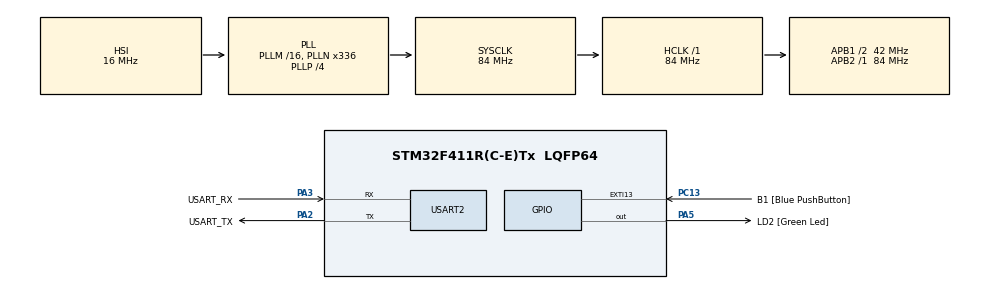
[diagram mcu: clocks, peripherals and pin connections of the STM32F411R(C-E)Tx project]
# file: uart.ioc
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Dma.Request0=USART2_RX
Dma.Request1=USART2_TX
Dma.USART2_RX.0.Direction=DMA_PERIPH_TO_MEMORY
Dma.USART2_RX.0.FIFOMode=DMA_FIFOMODE_DISABLE
Dma.USART2_RX.0.Instance=DMA1_Stream5
Dma.USART2_RX.0.MemDataAlignment=DMA_MDATAALIGN_BYTE
Dma.USART2_RX.0.MemInc=DMA_MINC_ENABLE
Dma.USART2_RX.0.Mode=DMA_CIRCULAR
Dma.USART2_RX.0.PeriphDataAlignment=DMA_PDATAALIGN_BYTE
Dma.USART2_RX.0.PeriphInc=DMA_PINC_DISABLE
Dma.USART2_RX.0.Priority=DMA_PRIORITY_LOW
Dma.USART2_TX.1.Direction=DMA_MEMORY_TO_PERIPH
Dma.USART2_TX.1.FIFOMode=DMA_FIFOMODE_DISABLE
Dma.USART2_TX.1.Instance=DMA1_Stream6
Dma.USART2_TX.1.MemDataAlignment=DMA_MDATAALIGN_BYTE
Dma.USART2_TX.1.MemInc=DMA_MINC_ENABLE
Dma.USART2_TX.1.Mode=DMA_NORMAL
Dma.USART2_TX.1.PeriphDataAlignment=DMA_PDATAALIGN_BYTE
Dma.USART2_TX.1.PeriphInc=DMA_PINC_DISABLE
Dma.USART2_TX.1.Priority=DMA_PRIORITY_LOW
Mcu.Family=STM32F4
Mcu.Name=STM32F411R(C-E)Tx
Mcu.Package=LQFP64
NVIC.DMA1_Stream5_IRQn=true\:0\:0\:false\:false\:true\:false\:true\:true
NVIC.DMA1_Stream6_IRQn=true\:0\:0\:false\:false\:true\:false\:true\:true
NVIC.PriorityGroup=NVIC_PRIORITYGROUP_0
NVIC.USART2_IRQn=true\:0\:0\:false\:false\:true\:true\:true\:true
PA13.GPIO_Label=TMS
PA13.Mode=Serial_Wire
PA13.Signal=SYS_JTMS-SWDIO
PA14.GPIO_Label=TCK
PA14.Mode=Serial_Wire
PA14.Signal=SYS_JTCK-SWCLK
PA2.GPIO_Label=USART_TX
PA2.Mode=Asynchronous
PA2.Signal=USART2_TX
PA3.GPIO_Label=USART_RX
PA3.Mode=Asynchronous
PA3.Signal=USART2_RX
PA5.GPIO_Label=LD2 [Green Led]
PA5.Signal=GPIO_Output
PB3.GPIO_Label=SWO
PB3.Signal=SYS_JTDO-SWO
PC13-ANTI_TAMP.GPIO_Label=B1 [Blue PushButton]
PC13-ANTI_TAMP.GPIO_ModeDefaultEXTI=GPIO_MODE_IT_FALLING
PC13-ANTI_TAMP.Signal=GPXTI13
PC14-OSC32_IN.Mode=LSE-External-Oscillator
PC14-OSC32_IN.Signal=RCC_OSC32_IN
PC15-OSC32_OUT.Mode=LSE-External-Oscillator
PC15-OSC32_OUT.Signal=RCC_OSC32_OUT
PH0\ -\ OSC_IN.Mode=HSE-External-Clock-Source
PH0\ -\ OSC_IN.Signal=RCC_OSC_IN
PH1\ -\ OSC_OUT.Mode=HSE-External-Clock-Source
PH1\ -\ OSC_OUT.Signal=RCC_OSC_OUT
ProjectManager.HeapSize=0x200
ProjectManager.StackSize=0x400
ProjectManager.TargetToolchain=STM32CubeIDE
RCC.48MHZClocksFreq_Value=84000000
RCC.AHBFreq_Value=84000000
RCC.APB1CLKDivider=RCC_HCLK_DIV2
RCC.APB1Freq_Value=42000000
RCC.APB1TimFreq_Value=84000000
RCC.APB2Freq_Value=84000000
RCC.APB2TimFreq_Value=84000000
RCC.CortexFreq_Value=84000000
RCC.FLatency-AdvancedSettings=FLASH_LATENCY_2
RCC.HCLKFreq_Value=84000000
RCC.HSE_VALUE=8000000
RCC.HSI_VALUE=16000000
RCC.PLLN=336
RCC.PLLP=RCC_PLLP_DIV4
RCC.SYSCLKFreq_VALUE=84000000
RCC.SYSCLKSource=RCC_SYSCLKSOURCE_PLLCLK
RCC.VCOOutputFreq_Value=336000000
USART2.VirtualMode=VM_ASYNC
board=NUCLEO-F411RE

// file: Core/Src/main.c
/* USER CODE BEGIN Header */
/**
  ******************************************************************************
  * @file           : main.c
  * @brief          : Main program body
  ******************************************************************************
  * @attention
  *
  * Copyright (c) 2023 STMicroelectronics.
  * All rights reserved.
  *
  * This software is licensed under terms that can be found in the LICENSE file
  * in the root directory of this software component.
  * If no LICENSE file comes with this software, it is provided AS-IS.
  *
  ******************************************************************************
  */
/* USER CODE END Header */
#include "main.h"

UART_HandleTypeDef huart2;
DMA_HandleTypeDef hdma_usart2_rx;
DMA_HandleTypeDef hdma_usart2_tx;

/* USER CODE BEGIN PV */
uint8_t RxBuffer[20];
uint8_t TxBuffer[40];
/* USER CODE END PV */

void SystemClock_Config(void);
static void MX_GPIO_Init(void);
static void MX_DMA_Init(void);
static void MX_USART2_UART_Init(void);
/* USER CODE BEGIN PFP */
void UARTPollingMethod();
void DummyTask();
void UARTDMAConfig();
/* USER CODE END PFP */

int main(void)
{

  /* MCU Configuration--------------------------------------------------------*/

  /* Reset of all peripherals, Initializes the Flash interface and the Systick. */
  HAL_Init();

  /* Configure the system clock */
  SystemClock_Config();

  /* Initialize all configured peripherals */
  MX_GPIO_Init();
  MX_DMA_Init();
  MX_USART2_UART_Init();
  /* USER CODE BEGIN 2 */
uint8_t text[] = "HELLO FIBO";
HAL_UART_Transmit(&huart2, text, 11, 10);

UARTDMAConfig();
  /* USER CODE END 2 */

  /* Infinite loop */
  while (1)
  {
	switch (state) {
		case LED_ON:
			BlinkLED();
			break;
		case LED_OFF:
			HAL_GPIO_WritePin(GPIOA, GPIO_PIN_5, 0);
		case Button_check:
			BlinkLED();
		default:
			break;
	  							}
  }
}

void SystemClock_Config(void)
{
  RCC_OscInitTypeDef RCC_OscInitStruct = {0};
  RCC_ClkInitTypeDef RCC_ClkInitStruct = {0};

  /** Configure the main internal regulator output voltage
  */
  __HAL_RCC_PWR_CLK_ENABLE();
  __HAL_PWR_VOLTAGESCALING_CONFIG(PWR_REGULATOR_VOLTAGE_SCALE1);

  /** Initializes the RCC Oscillators according to the specified parameters
  * in the RCC_OscInitTypeDef structure.
  */
  RCC_OscInitStruct.OscillatorType = RCC_OSCILLATORTYPE_HSI;
  RCC_OscInitStruct.HSIState = RCC_HSI_ON;
  RCC_OscInitStruct.HSICalibrationValue = RCC_HSICALIBRATION_DEFAULT;
  RCC_OscInitStruct.PLL.PLLState = RCC_PLL_ON;
  RCC_OscInitStruct.PLL.PLLSource = RCC_PLLSOURCE_HSI;
  RCC_OscInitStruct.PLL.PLLM = 16;
  RCC_OscInitStruct.PLL.PLLN = 336;
  RCC_OscInitStruct.PLL.PLLP = RCC_PLLP_DIV4;
  RCC_OscInitStruct.PLL.PLLQ = 4;
  if (HAL_RCC_OscConfig(&RCC_OscInitStruct) != HAL_OK)
  {
    Error_Handler();
  }

  /** Initializes the CPU, AHB and APB buses clocks
  */
  RCC_ClkInitStruct.ClockType = RCC_CLOCKTYPE_HCLK|RCC_CLOCKTYPE_SYSCLK
                              |RCC_CLOCKTYPE_PCLK1|RCC_CLOCKTYPE_PCLK2;
  RCC_ClkInitStruct.SYSCLKSource = RCC_SYSCLKSOURCE_PLLCLK;
  RCC_ClkInitStruct.AHBCLKDivider = RCC_SYSCLK_DIV1;
  RCC_ClkInitStruct.APB1CLKDivider = RCC_HCLK_DIV2;
  RCC_ClkInitStruct.APB2CLKDivider = RCC_HCLK_DIV1;

  if (HAL_RCC_ClockConfig(&RCC_ClkInitStruct, FLASH_LATENCY_2) != HAL_OK)
  {
    Error_Handler();
  }
}

static void MX_USART2_UART_Init(void)
{

  huart2.Instance = USART2;
  huart2.Init.BaudRate = 115200;
  huart2.Init.WordLength = UART_WORDLENGTH_8B;
  huart2.Init.StopBits = UART_STOPBITS_1;
  huart2.Init.Parity = UART_PARITY_NONE;
  huart2.Init.Mode = UART_MODE_TX_RX;
  huart2.Init.HwFlowCtl = UART_HWCONTROL_NONE;
  huart2.Init.OverSampling = UART_OVERSAMPLING_16;
  if (HAL_UART_Init(&huart2) != HAL_OK)
  {
    Error_Handler();
  }

}

static void MX_DMA_Init(void)
{

  /* DMA controller clock enable */
  __HAL_RCC_DMA1_CLK_ENABLE();

  /* DMA interrupt init */
  /* DMA1_Stream5_IRQn interrupt configuration */
  HAL_NVIC_SetPriority(DMA1_Stream5_IRQn, 0, 0);
  HAL_NVIC_EnableIRQ(DMA1_Stream5_IRQn);
  /* DMA1_Stream6_IRQn interrupt configuration */
  HAL_NVIC_SetPriority(DMA1_Stream6_IRQn, 0, 0);
  HAL_NVIC_EnableIRQ(DMA1_Stream6_IRQn);

}

static void MX_GPIO_Init(void)
{
  GPIO_InitTypeDef GPIO_InitStruct = {0};

  /* GPIO Ports Clock Enable */
  __HAL_RCC_GPIOC_CLK_ENABLE();
  __HAL_RCC_GPIOH_CLK_ENABLE();
  __HAL_RCC_GPIOA_CLK_ENABLE();
  __HAL_RCC_GPIOB_CLK_ENABLE();

  /*Configure GPIO pin Output Level */
  HAL_GPIO_WritePin(LD2_GPIO_Port, LD2_Pin, GPIO_PIN_RESET);

  /*Configure GPIO pin : B1_Pin */
  GPIO_InitStruct.Pin = B1_Pin;
  GPIO_InitStruct.Mode = GPIO_MODE_IT_FALLING;
  GPIO_InitStruct.Pull = GPIO_NOPULL;
  HAL_GPIO_Init(B1_GPIO_Port, &GPIO_InitStruct);

  /*Configure GPIO pin : LD2_Pin */
  GPIO_InitStruct.Pin = LD2_Pin;
  GPIO_InitStruct.Mode = GPIO_MODE_OUTPUT_PP;
  GPIO_InitStruct.Pull = GPIO_NOPULL;
  GPIO_InitStruct.Speed = GPIO_SPEED_FREQ_LOW;
  HAL_GPIO_Init(LD2_GPIO_Port, &GPIO_InitStruct);

}

/* USER CODE BEGIN 4 */
void UARTPollingMethod()
{
	HAL_StatusTypeDef HAL_status = HAL_UART_Receive(&huart2, RxBuffer, 10, 10000);

	if(HAL_status == HAL_OK)
	{
		RxBuffer[10] = '\0';

		sprintf((char*)TxBuffer,"Received : %s\r\n",RxBuffer);
		HAL_UART_Transmit(&huart2, TxBuffer, strlen((char*)TxBuffer), 10);
	}
	else if (HAL_status == HAL_TIMEOUT)
	{

		uint32_t lastCharPos = huart2.RxXferSize - huart2.RxXferCount;
		RxBuffer[lastCharPos] = '\0';

		sprintf((char*)TxBuffer,"Received Timeout: %s\r\n",RxBuffer);
		HAL_UART_Transmit(&huart2, TxBuffer, strlen((char*)TxBuffer), 10);
	}
}
void DummyTask()
{
	static uint32_t timestamp = 0;
	if(HAL_GetTick() >= timestamp)
	{
		timestamp = HAL_GetTick() + 100;
		HAL_GPIO_TogglePin(LD2_GPIO_Port, LD2_Pin);
	}
}

void UARTInterruptConfig() {
  // Start UART in interrupt mode
  HAL_UART_Receive_IT(&huart2, RxBuffer, 10);
}
void UARTDMAConfig()
{
	HAL_UART_Receive_DMA(&huart2, RxBuffer, 10);
}

void HAL_UART_RxCpltCallback(UART_HandleTypeDef *huart) {
  if (huart == &huart2) {
    // (for string only) Add string stop symbol \0 to end string
    RxBuffer[10] = '\0';

    // Return received char
    sprintf((char*) TxBuffer, "Received: %s\r\n", RxBuffer);
    HAL_UART_Transmit_DMA(&huart2, TxBuffer, strlen((char*) TxBuffer));

  }
}
/* USER CODE END 4 */

void Error_Handler(void)
{
  __disable_irq();
  while (1)
  {
  }
}
